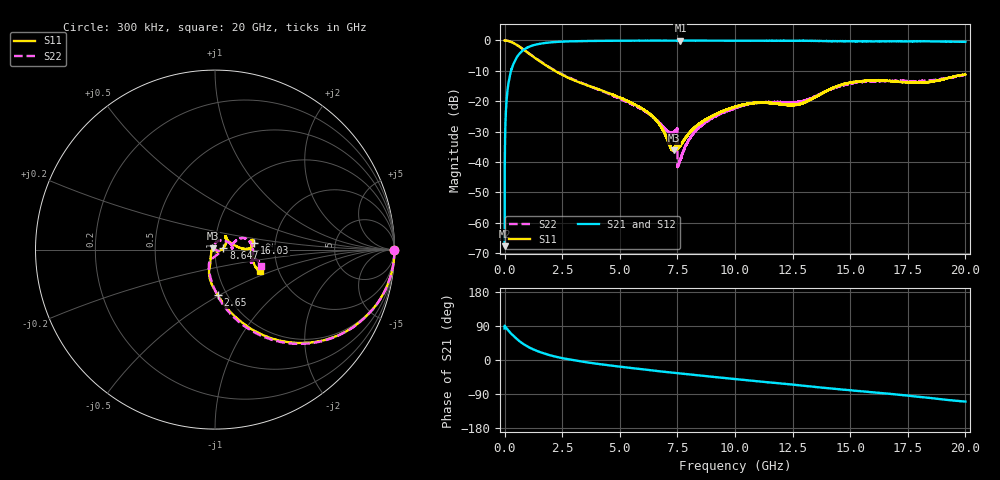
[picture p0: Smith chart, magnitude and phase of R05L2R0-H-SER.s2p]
!{R05L2R0}
!Johanson Technology Inc.
!www.johansontechnology.com
!Test Board Conditions:
!Substrate Type  RO4350B
!Substrate Thickness  10 mil
!Substrate Dk  3.66
!TL Type: GCPW
!TL Trace Width  22 mil
!TL Gap  25 mil
!Electrode orientation  Horizontal
!DUT TOPOLOGY	SERIES
!Mounting Pad LxW  11x14.5 mil
! Created Wed Nov 25 17:33:21 2020
! 2 Port Network Data from SP1.SP block
! freq  magS11  angS11  magS21  angS21  magS12  angS12  magS22  angS22
# khz S ma R 50
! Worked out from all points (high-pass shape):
!   20001 points, 300 kHz to 20 GHz, reference 50 ohm
!   highest |S21| = -0.03 dB at 7.631 GHz (marker M1); lowest = -67.7 dB at 300 kHz (marker M2)
!   |S21| within 3 dB of the highest: 836.9 MHz to end of sweep
!   lowest |S11| = -36.2 dB at 7.35 GHz (marker M3), VSWR 1.03, Z = 48.7 + j0.806 ohm
!   |S11| at or under -10 dB: 2.18 GHz to end of sweep
!   |S22| runs from -41.7 to 0.0 dB; largest |S21 - S12| = 0.016
!   S11 on the Smith chart (normalised r, x): 300 kHz: open; 2.65 GHz: 0.91, -0.49; 8.647 GHz: 1.10, +0.02; 16.03 GHz: 1.55, +0.13; 20 GHz: 1.60, -0.41
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300  0.9979 -0.2  0.0004098 83.2  0.0002917 88.4  0.9953 -0.2
101300  0.9922 -7.3  0.1209 82.5  0.1215 82.4  0.9922 -7.4
118300  0.989 -8.6  0.1411 81.2  0.1415 81.2  0.9897 -8.6
216300  0.9661 -15.5  0.252 74.2  0.2526 74.2  0.9663 -15.5
384300  0.9071 -25.8  0.4101 63.6  0.4113 63.6  0.9078 -25.8
754300  0.7381 -44.6  0.6662 44.7  0.6659 44.7  0.7406 -45.0
1314300  0.5168 -63.0  0.8473 26.2  0.846 26.2  0.5228 -63.6
2650300  0.2549 -86.4  0.9631 3.1  0.9608 3.2  0.26 -86.5
3334300  0.198 -94.5  0.9753 -4.0  0.9755 -4.0  0.2003 -93.1
5634300  0.08853 -108.0  0.9914 -22.2  0.9911 -22.2  0.08493 -113.2
6667300  0.04438 -122.7  0.9936 -29.3  0.9934 -29.3  0.04637 -102.2
7350300  0.01545 147.6  0.9931 -33.8  0.9914 -33.7  0.03033 -37.3
7399300  0.01806 134.0  0.9925 -34.1  0.9925 -34.1  0.03215 -29.4
7599300  0.0181 -36.2  0.9957 -35.4  0.995 -35.3  0.01029 137.7
7631300  0.01874 -33.4  0.9967 -35.5  0.9944 -35.5  0.01092 134.5
8041300  0.03052 -7.1  0.9937 -38.1  0.9935 -38.1  0.0245 102.4
8647300  0.04759 10.1  0.9942 -41.9  0.9936 -41.9  0.04255 80.4
1.00003e7  0.08094 38.5  0.9912 -50.3  0.9908 -50.2  0.07715 37.6
1.33343e7  0.1092 12.9  0.9842 -70.0  0.9858 -70.1  0.1137 20.3
1.60273e7  0.2205 10.1  0.9653 -85.5  0.9672 -85.3  0.2121 -3.6
1.66673e7  0.2132 14.0  0.9667 -89.1  0.9575 -88.8  0.2146 -15.2
2e7  0.2767 -25.6  0.9491 -109.7  0.9412 -109.6  0.2722 -19.3
